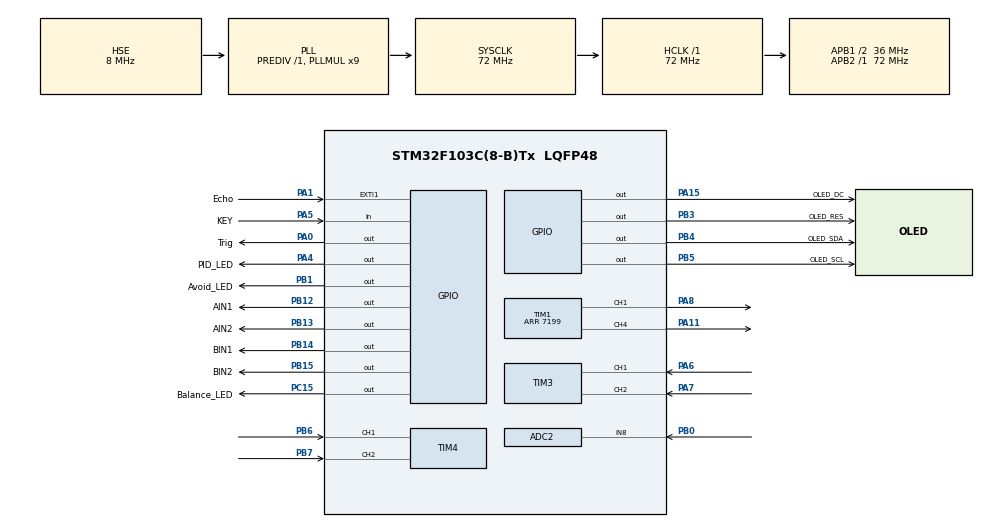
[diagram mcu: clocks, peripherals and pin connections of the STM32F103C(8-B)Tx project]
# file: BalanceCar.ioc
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ADC2.Channel-1\#ChannelRegularConversion=ADC_CHANNEL_8
ADC2.NbrOfConversionFlag=1
ADC2.Rank-1\#ChannelRegularConversion=1
ADC2.SamplingTime-1\#ChannelRegularConversion=ADC_SAMPLETIME_1CYCLE_5
Mcu.Family=STM32F1
Mcu.Name=STM32F103C(8-B)Tx
Mcu.Package=LQFP48
NVIC.EXTI1_IRQn=true\:0\:0\:false\:false\:true\:true\:true\:true
NVIC.PriorityGroup=NVIC_PRIORITYGROUP_4
PA0-WKUP.GPIO_Label=Trig
PA0-WKUP.Signal=GPIO_Output
PA1.GPIO_Label=Echo
PA1.GPIO_ModeDefaultEXTI=GPIO_MODE_IT_RISING_FALLING
PA1.Signal=GPXTI1
PA11.Signal=S_TIM1_CH4
PA13.Mode=Serial_Wire
PA13.Signal=SYS_JTMS-SWDIO
PA14.Mode=Serial_Wire
PA14.Signal=SYS_JTCK-SWCLK
PA15.GPIO_Label=OLED_DC
PA15.GPIO_Speed=GPIO_SPEED_FREQ_HIGH
PA15.PinState=GPIO_PIN_SET
PA15.Signal=GPIO_Output
PA4.GPIO_Label=PID_LED
PA4.Signal=GPIO_Output
PA5.GPIO_Label=KEY
PA5.GPIO_PuPd=GPIO_PULLUP
PA5.Signal=GPIO_Input
PA6.Signal=S_TIM3_CH1
PA7.Signal=S_TIM3_CH2
PA8.Signal=S_TIM1_CH1
PB0.Signal=ADCx_IN8
PB1.GPIO_Label=Avoid_LED
PB1.Signal=GPIO_Output
PB12.GPIO_Label=AIN1
PB12.Signal=GPIO_Output
PB13.GPIO_Label=AIN2
PB13.Signal=GPIO_Output
PB14.GPIO_Label=BIN1
PB14.Signal=GPIO_Output
PB15.GPIO_Label=BIN2
PB15.Signal=GPIO_Output
PB3.GPIO_Label=OLED_RES
PB3.GPIO_Speed=GPIO_SPEED_FREQ_HIGH
PB3.PinState=GPIO_PIN_SET
PB3.Signal=GPIO_Output
PB4.GPIO_Label=OLED_SDA
PB4.GPIO_Speed=GPIO_SPEED_FREQ_HIGH
PB4.PinState=GPIO_PIN_SET
PB4.Signal=GPIO_Output
PB5.GPIO_Label=OLED_SCL
PB5.GPIO_Speed=GPIO_SPEED_FREQ_HIGH
PB5.PinState=GPIO_PIN_SET
PB5.Signal=GPIO_Output
PB6.Signal=S_TIM4_CH1
PB7.Signal=S_TIM4_CH2
PC15-OSC32_OUT.GPIO_Label=Balance_LED
PC15-OSC32_OUT.Signal=GPIO_Output
PD0-OSC_IN.Mode=HSE-External-Oscillator
PD0-OSC_IN.Signal=RCC_OSC_IN
PD1-OSC_OUT.Mode=HSE-External-Oscillator
PD1-OSC_OUT.Signal=RCC_OSC_OUT
ProjectManager.HeapSize=0x200
ProjectManager.StackSize=0x400
ProjectManager.TargetToolchain=MDK-ARM V5
RCC.ADCPresc=RCC_ADCPCLK2_DIV6
RCC.AHBFreq_Value=72000000
RCC.APB1CLKDivider=RCC_HCLK_DIV2
RCC.APB1Freq_Value=36000000
RCC.APB1TimFreq_Value=72000000
RCC.APB2Freq_Value=72000000
RCC.APB2TimFreq_Value=72000000
RCC.HCLKFreq_Value=72000000
RCC.PLLMUL=RCC_PLL_MUL9
RCC.PLLSourceVirtual=RCC_PLLSOURCE_HSE
RCC.SYSCLKFreq_VALUE=72000000
RCC.SYSCLKSource=RCC_SYSCLKSOURCE_PLLCLK
RCC.USBFreq_Value=72000000
SH.ADCx_IN8.0=ADC2_IN8,IN8
SH.S_TIM1_CH1.0=TIM1_CH1,PWM Generation1 CH1
SH.S_TIM1_CH4.0=TIM1_CH4,PWM Generation4 CH4
SH.S_TIM3_CH1.0=TIM3_CH1,Encoder_Interface
SH.S_TIM3_CH2.0=TIM3_CH2,Encoder_Interface
SH.S_TIM4_CH1.0=TIM4_CH1,Encoder_Interface
SH.S_TIM4_CH2.0=TIM4_CH2,Encoder_Interface
TIM1.Channel-PWM\ Generation1\ CH1=TIM_CHANNEL_1
TIM1.Channel-PWM\ Generation4\ CH4=TIM_CHANNEL_4
TIM1.Period=7199
TIM2.Prescaler=71
TIM3.EncoderMode=TIM_ENCODERMODE_TI12
TIM4.EncoderMode=TIM_ENCODERMODE_TI12
VP_TIM2_VS_ClockSourceINT.Mode=Internal
board=custom

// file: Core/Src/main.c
/* USER CODE BEGIN Header */
/**
  ******************************************************************************
  * @file           : main.c
  * @brief          : Main program body
  ******************************************************************************
  * @attention
  *
  * Copyright (c) 2026 STMicroelectronics.
  * All rights reserved.
  *
  * This software is licensed under terms that can be found in the LICENSE file
  * in the root directory of this software component.
  * If no LICENSE file comes with this software, it is provided AS-IS.
  *
  ******************************************************************************
  */
/* USER CODE END Header */
#include "main.h"
#include "adc.h"
#include "tim.h"
#include "gpio.h"

/* USER CODE BEGIN Includes */
#include "dwt.h"
#include "oled.h"
#include "oledBmp.h"
#include "Battery.h"
#include "stdio.h"
#include "hcsr04.h"
#include "motor.h"
#include "encoder.h"
/* USER CODE END Includes */

/* USER CODE BEGIN PM */
unsigned char Str_Buff[64];
float Volt;
float Distance;
uint32_t Timer2_Count;
short EncoderA,EncoderB;

/* USER CODE END PM */

void SystemClock_Config(void);
/* USER CODE BEGIN PFP */
void OLED_Show(void);
/* USER CODE END PFP */

int main(void)
{

  /* MCU Configuration--------------------------------------------------------*/

  /* Reset of all peripherals, Initializes the Flash interface and the Systick. */
  HAL_Init();

  /* Configure the system clock */
  SystemClock_Config();

  /* Initialize all configured peripherals */
  MX_GPIO_Init();
  MX_ADC2_Init();
  MX_TIM2_Init();
  MX_TIM1_Init();
  MX_TIM3_Init();
  MX_TIM4_Init();
  /* USER CODE BEGIN 2 */
  DWT_Delay_Init();

  OLED_Init();

  HAL_TIM_PWM_Start(&htim1,TIM_CHANNEL_4);
  HAL_TIM_PWM_Start(&htim1,TIM_CHANNEL_1);

  HAL_TIM_Encoder_Start(&htim3,TIM_CHANNEL_ALL);
  HAL_TIM_Encoder_Start(&htim4,TIM_CHANNEL_ALL);

  Set_PWM(2000,-2000);

  OLED_Show();
  /* USER CODE END 2 */

  /* Infinite loop */
  /* USER CODE BEGIN WHILE */
  while (1)
  {
	  Trigger_Hcsr04();

	  Volt=ReadVolt();
	  OLED_Show();

	  EncoderA = Read_Encoder(3);	//左轮
	  EncoderB = Read_Encoder(4);	//右轮

	  HAL_Delay(10);
    /* USER CODE END WHILE */

  }
}

void SystemClock_Config(void)
{
  RCC_OscInitTypeDef RCC_OscInitStruct = {0};
  RCC_ClkInitTypeDef RCC_ClkInitStruct = {0};
  RCC_PeriphCLKInitTypeDef PeriphClkInit = {0};

  /** Initializes the RCC Oscillators according to the specified parameters
  * in the RCC_OscInitTypeDef structure.
  */
  RCC_OscInitStruct.OscillatorType = RCC_OSCILLATORTYPE_HSE;
  RCC_OscInitStruct.HSEState = RCC_HSE_ON;
  RCC_OscInitStruct.HSEPredivValue = RCC_HSE_PREDIV_DIV1;
  RCC_OscInitStruct.HSIState = RCC_HSI_ON;
  RCC_OscInitStruct.PLL.PLLState = RCC_PLL_ON;
  RCC_OscInitStruct.PLL.PLLSource = RCC_PLLSOURCE_HSE;
  RCC_OscInitStruct.PLL.PLLMUL = RCC_PLL_MUL9;
  if (HAL_RCC_OscConfig(&RCC_OscInitStruct) != HAL_OK)
  {
    Error_Handler();
  }

  /** Initializes the CPU, AHB and APB buses clocks
  */
  RCC_ClkInitStruct.ClockType = RCC_CLOCKTYPE_HCLK|RCC_CLOCKTYPE_SYSCLK
                              |RCC_CLOCKTYPE_PCLK1|RCC_CLOCKTYPE_PCLK2;
  RCC_ClkInitStruct.SYSCLKSource = RCC_SYSCLKSOURCE_PLLCLK;
  RCC_ClkInitStruct.AHBCLKDivider = RCC_SYSCLK_DIV1;
  RCC_ClkInitStruct.APB1CLKDivider = RCC_HCLK_DIV2;
  RCC_ClkInitStruct.APB2CLKDivider = RCC_HCLK_DIV1;

  if (HAL_RCC_ClockConfig(&RCC_ClkInitStruct, FLASH_LATENCY_2) != HAL_OK)
  {
    Error_Handler();
  }
  PeriphClkInit.PeriphClockSelection = RCC_PERIPHCLK_ADC;
  PeriphClkInit.AdcClockSelection = RCC_ADCPCLK2_DIV6;
  if (HAL_RCCEx_PeriphCLKConfig(&PeriphClkInit) != HAL_OK)
  {
    Error_Handler();
  }
}

/* USER CODE BEGIN 4 */
void OLED_Show()
{
	sprintf((char *)Str_Buff,"Volt: %.2f  ",Volt);
	// 第一行
	OLED_ShowString(0,0,Str_Buff);

	sprintf((char *)Str_Buff,"Distance: %.2f  ",Distance);
	// 第二行
	OLED_ShowString(0,2,Str_Buff);

	//第三行
	sprintf((char *)Str_Buff,"Encoder:%d %d ",EncoderA,EncoderB);
	OLED_ShowString(0,4,Str_Buff);
}

void HAL_GPIO_EXTI_Callback(uint16_t GPIO_Pin)
{
	HAL_GPIO_TogglePin(Avoid_LED_GPIO_Port, Avoid_LED_Pin);
	//超声波Echo中断
	if(GPIO_Pin == Echo_Pin)
	{
		if(HAL_GPIO_ReadPin(Echo_GPIO_Port,Echo_Pin)==GPIO_PIN_SET)	//上升沿
		{
			__HAL_TIM_SetCounter(&htim2,0);
			HAL_TIM_Base_Start(&htim2);
		}
		else	//下降沿
		{
			HAL_TIM_Base_Stop(&htim2);
			Timer2_Count = __HAL_TIM_GetCounter(&htim2);

			/**计算距离	S = V*t / 2 ,
			V=340m/s 算出来的单位是cm所以转化为 34000cm/s
			T用的是定时器的us，要除六个零转化为s  us/1000000
			(可以交换位置让V先除2就好算点) 34000cm/s / 2 = 17000cm/s 再转换为us（除1000000） =0.017us
			**/

			Distance = (Timer2_Count * 17.0) / 1000.0;//得出的单位是cm
		}
	}
}

/* USER CODE END 4 */

void Error_Handler(void)
{
  __disable_irq();
  while (1)
  {
  }
}
